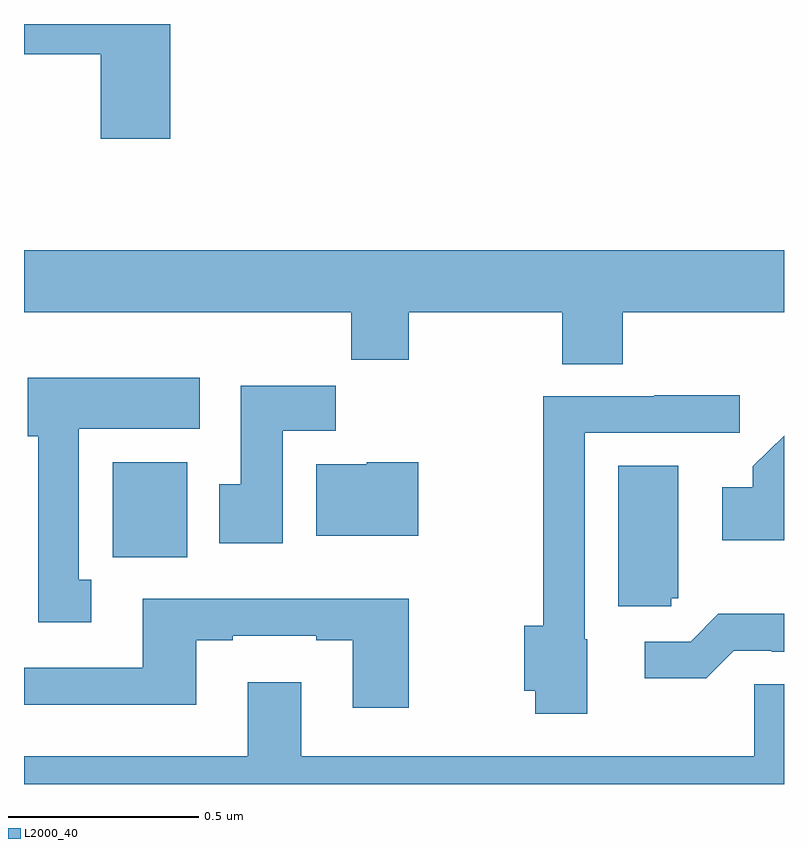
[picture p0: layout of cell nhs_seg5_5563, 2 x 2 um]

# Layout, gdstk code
import gdstk
lib = gdstk.Library(unit=1e-6, precision=1e-09)
def R(c, l, rs):  # rectangles x0, y0, x1, y1
    for r in rs: c.add(gdstk.rectangle(r[:2], r[2:], *l))
def P(c, l, *ps):  # polygons
    for p in ps: c.add(gdstk.Polygon(p, *l))
L2000_40 = (2000, 40)

nhs_seg5_5563 = lib.new_cell('nhs_seg5_5563')
R(nhs_seg5_5563, L2000_40, [(184.233,909.396,184.429,909.646)])
P(nhs_seg5_5563, L2000_40, [(184.385,910.799),(184,910.799),(184,910.72),(184.202,910.72),(184.202,910.497),(184.385,910.497)],
  [(185.576,910.04),(186,910.04),(186,910.204),(184,910.204),(184,910.04),(184.861,910.04),(184.861,909.916),(185.013,909.916),(185.013,910.04),(185.416,910.04),(185.416,909.904),(185.576,909.904)],
  [(184.177,909.337),(184.144,909.337),(184.144,909.734),(184.462,909.734),(184.462,909.868),(184.01,909.868),(184.01,909.714),(184.037,909.714),(184.037,909.225),(184.177,909.225)],
  [(184.681,909.728),(184.82,909.728),(184.82,909.847),(184.571,909.847),(184.571,909.588),(184.514,909.588),(184.514,909.432),(184.681,909.432)],
  [(185.482,909.18),(185.475,909.18),(185.475,909.723),(185.884,909.723),(185.884,909.822),(185.659,909.822),(185.659,909.819),(185.367,909.819),(185.367,909.215),(185.317,909.215),(185.317,909.044),(185.346,909.044),(185.346,908.984),(185.482,908.984)],
  [(186,909.716),(185.918,909.635),(185.918,909.58),(185.838,909.58),(185.838,909.44),(186,909.44)],
  [(185.038,909.646),(184.902,909.646),(184.902,909.64),(184.769,909.64),(184.769,909.452),(185.038,909.452)],
  [(185.703,909.288),(185.722,909.288),(185.722,909.637),(185.564,909.637),(185.564,909.267),(185.703,909.267)],
  [(185.013,909.286),(184.313,909.286),(184.313,909.105),(184,909.105),(184,909.008),(184.453,909.008),(184.453,909.177),(184.549,909.177),(184.549,909.189),(184.769,909.189),(184.769,909.177),(184.865,909.177),(184.865,909),(185.013,909)],
  [(185.868,909.15),(185.968,909.15),(185.968,909.147),(186,909.147),(186,909.247),(185.827,909.247),(185.754,909.174),(185.634,909.174),(185.634,909.077),(185.795,909.077)],
  [(186,909.062),(185.922,909.062),(185.922,908.872),(184.729,908.872),(184.729,909.067),(184.589,909.067),(184.589,908.872),(184,908.872),(184,908.799),(186,908.799)])

lib.write_gds('nhs_seg5_5563.gds')
